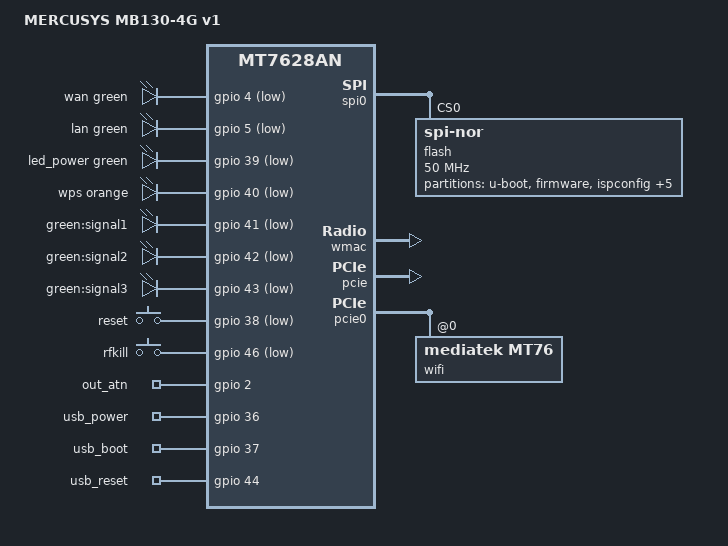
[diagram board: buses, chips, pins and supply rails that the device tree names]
// SPDX-License-Identifier: GPL-2.0-or-later OR MIT

#include "mt7628an.dtsi"

#include <dt-bindings/input/input.h>
#include <dt-bindings/gpio/gpio.h>
#include <dt-bindings/leds/common.h>

/ {
	compatible = "mercusys,mb130-4g-v1", "mediatek,mt7628an-soc";
	model = "MERCUSYS MB130-4G v1";

	aliases {
		led-boot = &led_power;
		led-failsafe = &led_power;
		led-running = &led_power;
		led-upgrade = &led_power;
		label-mac-device = &ethernet;
	};

	chosen {
		bootargs = "console=ttyS0,115200";
	};

	leds {
		compatible = "gpio-leds";

		wan {
			function = LED_FUNCTION_WAN;
			color = <LED_COLOR_ID_GREEN>;
			gpios = <&gpio 4 GPIO_ACTIVE_LOW>;
		};

		lan {
			function = LED_FUNCTION_LAN;
			color = <LED_COLOR_ID_GREEN>;
			gpios = <&gpio 5 GPIO_ACTIVE_LOW>;
		};

		led_power: power {
			function = LED_FUNCTION_POWER;
			color = <LED_COLOR_ID_GREEN>;
			gpios = <&gpio 39 GPIO_ACTIVE_LOW>;
		};

		wps {
			function = LED_FUNCTION_WPS;
			color = <LED_COLOR_ID_ORANGE>;
			gpios = <&gpio 40 GPIO_ACTIVE_LOW>;
		};

		signal1 {
			label = "green:signal1";
			gpios = <&gpio 41 GPIO_ACTIVE_LOW>;
		};

		signal2 {
			label = "green:signal2";
			gpios = <&gpio 42 GPIO_ACTIVE_LOW>;
		};

		signal3 {
			label = "green:signal3";
			gpios = <&gpio 43 GPIO_ACTIVE_LOW>;
		};
	};

	keys {
		compatible = "gpio-keys";

		reset {
			label = "reset";
			gpios = <&gpio 38 GPIO_ACTIVE_LOW>;
			linux,code = <KEY_RESTART>;
		};

		rfkill {
			label = "rfkill";
			gpios = <&gpio 46 GPIO_ACTIVE_LOW>;
			linux,code = <KEY_RFKILL>;
		};
	};

	gpio_export {
		compatible = "gpio-export";

		out_atn {
			gpio-export,name = "out_atn";
			gpio-export,output = <0>;
			gpios = <&gpio 2 GPIO_ACTIVE_HIGH>;
		};

		usb_power {
			gpio-export,name = "usb_power";
			gpio-export,output = <1>;
			gpios = <&gpio 36 GPIO_ACTIVE_HIGH>;
		};

		usb_boot {
			gpio-export,name = "usb_boot";
			gpio-export,output = <0>;
			gpios = <&gpio 37 GPIO_ACTIVE_HIGH>;
		};

		usb_reset {
			gpio-export,name = "usb_reset";
			gpio-export,output = <0>;
			gpios = <&gpio 44 GPIO_ACTIVE_HIGH>;
		};
	};
};

&spi0 {
	status = "okay";

	flash@0 {
		compatible = "jedec,spi-nor";
		reg = <0>;
		spi-max-frequency = <50000000>;
		m25p,fast-read;

		partitions {
			compatible = "fixed-partitions";
			#address-cells = <1>;
			#size-cells = <1>;

			partition@0 {
				label = "u-boot";
				reg = <0x0 0x20000>;
				read-only;
			};

			partition@20000 {
				compatible = "tplink,firmware";
				label = "firmware";
				reg = <0x20000 0xe90000>;
			};

			partition@eb0000 {
				label = "ispconfig";
				reg = <0xeb0000 0x10000>;
				read-only;
			};

			partition@ec0000 {
				label = "romfile";
				reg = <0xec0000 0x10000>;
				read-only;

				nvmem-layout {
					compatible = "fixed-layout";
					#address-cells = <1>;
					#size-cells = <1>;

					macaddr_romfile_f100: macaddr@f100 {
						compatible = "mac-base";
						reg = <0xf100 0x6>;
						#nvmem-cell-cells = <1>;
					};
				};
			};

			partition@ed0000 {
				label = "config";
				reg = <0xed0000 0x10000>;
				read-only;
			};

			partition@ee0000 {
				label = "configbak";
				reg = <0xee0000 0x10000>;
				read-only;
			};

			partition@ef0000 {
				label = "radio";
				reg = <0xef0000 0x10000>;
				read-only;

				nvmem-layout {
					compatible = "fixed-layout";
					#address-cells = <1>;
					#size-cells = <1>;

					eeprom_radio_0: eeprom@0 {
						reg = <0x0 0x400>;
					};

					eeprom_radio_8000: eeprom@8000 {
						reg = <0x8000 0x200>;
					};
				};
			};

			partition@f00000 {
				label = "userdata";
				reg = <0xf00000 0x100000>;
				read-only;
			};
		};
	};
};

&state_default {
	gpio {
		groups = "i2c", "p0led_an", "p1led_an", "p2led_an", "p3led_an", "p4led_an", "uart1", "wdt";
		function = "gpio";
	};
};

&wmac {
	nvmem-cells = <&eeprom_radio_0>, <&macaddr_romfile_f100 0>;
	nvmem-cell-names = "eeprom", "mac-address";
	status = "okay";
};

&esw {
	mediatek,portmap = <0x37>;
	mediatek,portdisable = <0x33>;
};

&ethernet {
	nvmem-cells = <&macaddr_romfile_f100 0>;
	nvmem-cell-names = "mac-address";
};

&pcie {
	status = "okay";
};

&pcie0 {
	wifi@0,0 {
		compatible = "mediatek,mt76";
		reg = <0x0000 0 0 0 0>;
		nvmem-cells = <&eeprom_radio_8000>, <&macaddr_romfile_f100 (-1)>;
		nvmem-cell-names = "eeprom", "mac-address";
		ieee80211-freq-limit = <5000000 6000000>;
	};
};
